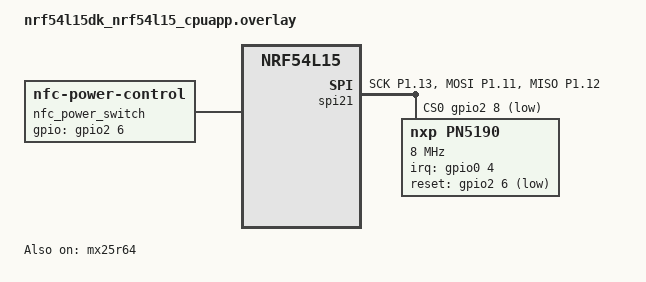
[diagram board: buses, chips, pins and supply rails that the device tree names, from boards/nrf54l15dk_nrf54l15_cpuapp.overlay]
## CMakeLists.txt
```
#
# Copyright (c) 2025 Nordic Semiconductor ASA
#
# SPDX-License-Identifier: LicenseRef-Nordic-5-Clause
#

cmake_minimum_required(VERSION 3.20.0)

find_package(Zephyr REQUIRED HINTS $ENV{ZEPHYR_BASE})
project(door-lock-app)

list(APPEND CMAKE_MODULE_PATH ${CMAKE_CURRENT_LIST_DIR}/../cmake)

if(CONFIG_NCS_ALIRO AND NOT CONFIG_ALIRO_ON_EXTERNAL_MCU)
add_subdirectory(src/aliro)
endif()
add_subdirectory_ifdef(CONFIG_CHIP src/matter)
add_subdirectory_ifdef(CONFIG_DOOR_LOCK_DFU_BLE_SMP src/dfu_smp)
add_subdirectory_ifdef(CONFIG_DOOR_LOCK_BLE_NUS src/bt_nus)
if(CONFIG_ALIRO_AT_MODULE OR CONFIG_ALIRO_AT_HOST)
add_subdirectory(src/at_command)
endif()

file(GLOB app_sources CONFIGURE_DEPENDS src/*.cpp)
target_sources(app PRIVATE ${app_sources})
target_include_directories(app PRIVATE src)
```

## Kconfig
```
#
# Copyright (c) 2025 Nordic Semiconductor ASA
#
# SPDX-License-Identifier: LicenseRef-Nordic-5-Clause
#

mainmenu "nRF Door Lock and Access Control Add-on"

module = DOOR_LOCK_APP
module-str = NCS_DOOR_LOCK_APP
module-dep = LOG
module-help = Enables nRF Connect SDK Door Lock Application log messages.
source "$(ZEPHYR_BASE)/subsys/logging/Kconfig.template.log_config"

config MATTER_ON_EXTERNAL_MCU
	bool "Matter stack on external MCU"
  help
    Enable this option if the Matter stack is running on an external MCU.

config ALIRO_ON_EXTERNAL_MCU
  bool "Aliro stack on external MCU"
  help
    Enable this option if the Aliro stack is running on an external MCU.

config DOOR_LOCK_CLI
	bool "CLI support"
	default y if (!DOOR_LOCK_RELEASE || (!CHIP && !MATTER_ON_EXTERNAL_MCU))
	select SHELL
	select REBOOT
	help
	  Enable support for Door Lock CLI.

config DOOR_LOCK_RELEASE
    bool "Release configuration"
    help
      In this configuration:
      Aliro stack logs are disabled.
      RFAL NFC driver logs are disabled.
      Shell commands are disabled.
      Device reset automatically on fatal error.

rsource "src/Kconfig"

rsource "Kconfig.defconfig"

# Source BLE defconfig when any BLE feature is enabled
if DOOR_LOCK_BLE_UWB || DOOR_LOCK_DFU_BLE_SMP || DOOR_LOCK_BLE_NUS
rsource "Kconfig.ble.defconfig"
endif # DOOR_LOCK_BLE_UWB || DOOR_LOCK_DFU_BLE_SMP || DOOR_LOCK_BLE_NUS

if CHIP

rsource "src/matter/Kconfig"
source "$(ZEPHYR_CONNECTEDHOMEIP_MODULE_DIR)/config/nrfconnect/chip-module/Kconfig.features"
source "$(ZEPHYR_CONNECTEDHOMEIP_MODULE_DIR)/config/nrfconnect/chip-module/Kconfig.defaults"
source "$(ZEPHYR_NRF_MODULE_DIR)/samples/matter/common/src/Kconfig"

endif # CHIP

source "Kconfig.zephyr"
```

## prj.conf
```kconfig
#
# Copyright (c) 2025 Nordic Semiconductor ASA
#
# SPDX-License-Identifier: LicenseRef-Nordic-5-Clause
#

#
# Aliro
#

CONFIG_NCS_ALIRO=y

# Basic system configuration
CONFIG_CPP=y
CONFIG_STD_CPP17=y
CONFIG_REQUIRES_FULL_LIBCPP=y
CONFIG_RESET_ON_FATAL_ERROR=n
CONFIG_ASSERT=y
CONFIG_MPU_STACK_GUARD=y
CONFIG_SYS_HEAP_RUNTIME_STATS=y

# Stack sizes
CONFIG_SYSTEM_WORKQUEUE_STACK_SIZE=3072
CONFIG_SHELL_STACK_SIZE=4096

# Logging
CONFIG_CONSOLE=y
CONFIG_LOG=y
CONFIG_LOG_MODE_DEFERRED=y
CONFIG_DOOR_LOCK_RFAL_LOG_LEVEL_DBG=y
CONFIG_DOOR_LOCK_NXPNFCRDLIB_LOG_LEVEL_DBG=y
CONFIG_DOOR_LOCK_BLE_LOG_LEVEL_INF=y
CONFIG_DOOR_LOCK_UWB_LOG_LEVEL_INF=y
CONFIG_USE_SEGGER_RTT=n
CONFIG_LOG_BACKEND_RTT=n
CONFIG_LOG_BACKEND_SHOW_COLOR=n
CONFIG_DOOR_LOCK_APP_LOG_LEVEL_INF=y
CONFIG_BT_HCI_CORE_LOG_LEVEL_ERR=y
CONFIG_BT_HCI_DRIVER_LOG_LEVEL_ERR=y
CONFIG_MATTER_LOG_LEVEL_INF=y
CONFIG_CHIP_APP_LOG_LEVEL=3

# Disable unused shell features
CONFIG_SHELL_VT100_COLORS=n
CONFIG_SHELL_HISTORY=n
CONFIG_SHELL_WILDCARD=n

# Set shell configuration
CONFIG_SHELL_MINIMAL=n
CONFIG_SHELL_DEVICE_HELPERS=y

# Increase shell buffer sizes
CONFIG_SHELL_BACKEND_SERIAL_RX_RING_BUFFER_SIZE=2048
CONFIG_SHELL_BACKEND_SERIAL_TX_RING_BUFFER_SIZE=1024

# Adjust logs queue size
CONFIG_SHELL_BACKEND_SERIAL_LOG_MESSAGE_QUEUE_SIZE=2048

# Workaournd for Murata issue:
# https://github.com/csa-access-control/aliro-actuator/issues/114
CONFIG_BT_GAP_AUTO_UPDATE_CONN_PARAMS=n

# Override default values to match Aliro requirements for APDU message sizes.
CONFIG_BT_BUF_ACL_RX_SIZE=271
CONFIG_BT_BUF_ACL_TX_SIZE=271
CONFIG_BT_L2CAP_TX_MTU=267

#
# Matter
#

CONFIG_CHIP_LIB_SHELL=y
CONFIG_NCS_SAMPLE_MATTER_TEST_SHELL=y

# 3003
CONFIG_CHIP_DEVICE_DISCRIMINATOR=0xBBB
CONFIG_CHIP_DEVICE_SPAKE2_PASSCODE=30033003

# 32774 == 0x8006 (example lock-app)
CONFIG_CHIP_DEVICE_PRODUCT_ID=32774

# Suspend devices when the CPU goes into sleep
CONFIG_PM_DEVICE=y
CONFIG_PM_DEVICE_RUNTIME=y

# Try to disable unused RAM blocks to reduce power consumption
CONFIG_RAM_POWER_DOWN_LIBRARY=y

CONFIG_LOCK_MAX_CREDENTIAL_LENGTH=65
```

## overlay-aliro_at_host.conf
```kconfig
CONFIG_ALIRO_AT_HOST=y
CONFIG_HEAP_MEM_POOL_SIZE=4096
CONFIG_CHIP_FACTORY_RESET_ERASE_SETTINGS=n
CONFIG_NFC_DRIVER_STM=n
CONFIG_NFC_DRIVER_NXP=n
CONFIG_NCS_ALIRO=n

# Aliro storage and expedited phase run on the external MCU.
CONFIG_DOOR_LOCK_EXPEDITED_FAST_PHASE=n
CONFIG_DOOR_LOCK_EXTERNAL_NVS=n

# Inherited from prj.conf; NFC drivers are disabled for AT Host.
CONFIG_DOOR_LOCK_RFAL_LOG_LEVEL_OFF=y
CONFIG_DOOR_LOCK_NXPNFCRDLIB_LOG_LEVEL_OFF=y
CONFIG_SHELL_ASYNC_API=y
```

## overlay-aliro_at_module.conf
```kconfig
CONFIG_ALIRO_AT_MODULE=y
CONFIG_REBOOT=y
CONFIG_PM_EXTERNAL_FLASH_MCUBOOT_SECONDARY=n
CONFIG_DOOR_LOCK_EXTERNAL_NVS=n
CONFIG_DOOR_LOCK_INTERNAL_ZMS=y
#CONFIG_DOOR_LOCK_APP_LOG_LEVEL_DBG=y
#CONFIG_DOOR_LOCK_INTERNAL_ZMS_LOG_LEVEL_DBG=y
CONFIG_NFC_DRIVER_STM=n
CONFIG_NFC_DRIVER_NXP=y
CONFIG_SHELL_ASYNC_API=y
```

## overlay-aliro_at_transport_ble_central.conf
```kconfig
# AT transport: BLE Central (NUS client), for Matter + Aliro AT Host.
# Pairs with a peripheral exposing Nordic UART Service (same as bt_nus / peripheral_uart).
CONFIG_ALIRO_AT_TRANSPORT_SERIAL=n
CONFIG_ALIRO_AT_TRANSPORT_BLE=y

CONFIG_BT=y
CONFIG_BT_CENTRAL=y
CONFIG_BT_GATT_CLIENT=y
CONFIG_BT_SMP=y
CONFIG_BT_ID_MAX=2

# NUS client + GATT discovery + scan (see samples/bluetooth/central_uart)
CONFIG_BT_NUS_CLIENT=y
CONFIG_BT_GATT_DM=y
CONFIG_BT_SCAN=y
CONFIG_BT_SCAN_FILTER_ENABLE=y
CONFIG_BT_SCAN_UUID_CNT=1
CONFIG_BT_SCAN_ADDRESS_CNT=1

# Matter commissioning BLE + AT NUS central link
CONFIG_BT_MAX_CONN=2
CONFIG_BT_MAX_PAIRED=2

# Bonding / reconnection to known NUS peer (with CONFIG_BT_SETTINGS from Matter)
CONFIG_BT_SETTINGS=y

# Extra heap for NUS client / scan / GATT DM (raise if Matter default is lower)
CONFIG_HEAP_MEM_POOL_SIZE=8192
```

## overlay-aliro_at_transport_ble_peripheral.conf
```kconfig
# AT transport: BLE Peripheral (NUS server), for Matter + Aliro AT Host.
# Pairs with a central exposing Nordic UART Service (same as bt_nus / central_uart).
CONFIG_ALIRO_AT_TRANSPORT_SERIAL=n
CONFIG_ALIRO_AT_TRANSPORT_BLE=y

# Exclude Lock NUS commands from the default NUS command pool, since the peripheral doesn't need them and it saves RAM.
CONFIG_DOOR_LOCK_BT_NUS_MAX_COMMANDS=1
# Increase max command length to allow for longer AT commands (e.g. with more parameters) - adjust as needed.
CONFIG_DOOR_LOCK_BT_NUS_MAX_COMMAND_LEN=200
# Don't need authentication or passkey entry for the peripheral role in this demo, so disable to save code/RAM.
CONFIG_BT_NUS_AUTHEN=n
CONFIG_BT_APP_PASSKEY=n
```

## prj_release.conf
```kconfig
#
# Copyright (c) 2025 Nordic Semiconductor ASA
#
# SPDX-License-Identifier: LicenseRef-Nordic-5-Clause
#

#
# Aliro
#

CONFIG_NCS_ALIRO=y

CONFIG_NCS_ALIRO_RELEASE=y

CONFIG_DOOR_LOCK_RELEASE=y

# Basic system configuration
CONFIG_CPP=y
CONFIG_STD_CPP17=y
CONFIG_REQUIRES_FULL_LIBCPP=y

# Stack sizes
CONFIG_SYSTEM_WORKQUEUE_STACK_SIZE=3072

#logging
CONFIG_LOG=n
CONFIG_USE_SEGGER_RTT=n

# Workaround for Murata issue:
# https://github.com/csa-access-control/aliro-actuator/issues/114
CONFIG_BT_GAP_AUTO_UPDATE_CONN_PARAMS=n

# Override default values to match Aliro requirements for APDU message sizes.
CONFIG_BT_BUF_ACL_RX_SIZE=271
CONFIG_BT_BUF_ACL_TX_SIZE=271
CONFIG_BT_L2CAP_TX_MTU=267

#
# Matter
#

# 3003
CONFIG_CHIP_DEVICE_DISCRIMINATOR=0xBBB
CONFIG_CHIP_DEVICE_SPAKE2_PASSCODE=30033003

# 32774 == 0x8006 (example lock-app)
CONFIG_CHIP_DEVICE_PRODUCT_ID=32774

# Suspend devices when the CPU goes into sleep
CONFIG_PM_DEVICE=y
CONFIG_PM_DEVICE_RUNTIME=y

# Try to disable unused RAM blocks to reduce power consumption
CONFIG_RAM_POWER_DOWN_LIBRARY=y

CONFIG_LOCK_MAX_CREDENTIAL_LENGTH=65

CONFIG_ASSERT=n
CONFIG_ASSERT_VERBOSE=n
CONFIG_ASSERT_NO_FILE_INFO=y

CONFIG_RESET_ON_FATAL_ERROR=y

CONFIG_UART_CONSOLE=n
CONFIG_SERIAL=n
CONFIG_SHELL=n
CONFIG_NCS_SAMPLE_MATTER_TEST_SHELL=n
CONFIG_LOG_MODE_MINIMAL=n

CONFIG_THREAD_NAME=n
CONFIG_BOOT_BANNER=n
CONFIG_PRINTK=n
CONFIG_PRINTK_SYNC=n
CONFIG_CHIP_LIB_SHELL=n
CONFIG_OPENTHREAD_SHELL=n
```

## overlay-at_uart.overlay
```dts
/*
 * Copyright (c) 2025 Nordic Semiconductor ASA
 *
 * SPDX-License-Identifier: LicenseRef-Nordic-5-Clause
 */

 / {
	chosen {
		aliro,at-uart = &uart30;
	};

	aliro_at_uart_rx: aliro-at-uart-rx {
		compatible = "gpio-keys";
		aliro_at_uart_rx_pin: aliro_at_uart_rx_pin {
			gpios = <&gpio0 1 ( GPIO_PULL_UP | GPIO_ACTIVE_LOW )>;
		};
	};
};

&pinctrl {
	uart30_default: uart30_default {
		group1 {
			psels = <NRF_PSEL(UART_TX, 0, 0)>,
				<NRF_PSEL(UART_RX, 0, 1)>;
		};
	};

	uart30_sleep: uart30_sleep {
		group1 {
			psels = <NRF_PSEL(UART_TX, 0, 0)>,
				<NRF_PSEL(UART_RX, 0, 1)>;
			low-power-enable;
		};
	};
};

&uart30 {
	compatible = "nordic,nrf-uarte";
	status = "okay";
	current-speed = <115200>;
	pinctrl-0 = <&uart30_default>;
	pinctrl-1 = <&uart30_sleep>;
	pinctrl-names = "default", "sleep";
	/delete-property/ hw-flow-control;
};

&gpio0 {
	status = "okay";
	sense-edge-mask = <0x00000012>; /* P0.01, P0.04 */
};
```

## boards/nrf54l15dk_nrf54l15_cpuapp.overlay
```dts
/*
 * Copyright (c) 2025 Nordic Semiconductor ASA
 *
 * SPDX-License-Identifier: LicenseRef-Nordic-5-Clause
 */

/ {
	/* Disable buttons to avoid collision with interrupt and SCK pins for NFC tag reader.
	It also allows to use the button with the same label (1) on all supported dev kits. */
	buttons {
		/delete-node/ button_0;
		/delete-node/ button_3;
	};

	leds {
		/delete-node/ led_0;
	};

	aliases {
		/delete-property/ sw0;
		/delete-property/ sw3;
		/delete-property/ led0;
		/delete-property/ mcuboot-led0;
		mcuboot-button0 = &button1;
		lock-sim-indicator = &led2; /* green LED2 on nRF54L15DK */
	};

	nfc_power_switch: nfc_power_switch {
		status = "okay";
		compatible = "nfc-power-control";
		gpios = <&gpio2 6 ( GPIO_ACTIVE_HIGH | GPIO_PULL_DOWN )>;
	};

	chosen {
		nordic,pm-ext-flash = &mx25r64;
	};
};

&pinctrl {
	spi21_default: spi21_default {
		group1 {
			psels = <NRF_PSEL(SPIM_SCK, 1, 13)>,
			        <NRF_PSEL(SPIM_MOSI, 1, 11)>,
			        <NRF_PSEL(SPIM_MISO, 1, 12)>;
			nordic,drive-mode = <NRF_DRIVE_H0H1>;
		};
	};

	spi21_sleep: spi21_sleep {
		group1 {
			psels = <NRF_PSEL(SPIM_SCK, 1, 13)>,
			        <NRF_PSEL(SPIM_MOSI, 1, 11)>,
			        <NRF_PSEL(SPIM_MISO, 1, 12)>;
			low-power-enable;
		};
	};
};

&spi21 {
	compatible = "nordic,nrf-spim";
	status = "okay";
	cs-gpios = <&gpio2 8 GPIO_ACTIVE_LOW>;

	pinctrl-0 = <&spi21_default>;
	pinctrl-1 = <&spi21_sleep>;
	pinctrl-names = "default", "sleep";
	pn5190@0 {
		compatible = "nxp,pn5190";
		reg = <0>;
		spi-max-frequency = <8000000>;
		irq-gpios = <&gpio0 4 GPIO_ACTIVE_HIGH>;
		reset-gpios = <&gpio2 6 (GPIO_ACTIVE_LOW|GPIO_PULL_UP)>;
	};
};

&gpio0 {
	status = "okay";
};

&gpio1 {
	status = "okay";
};

&gpio2 {
	status = "okay";
};

/* restore full RRAM and SRAM space - by default some parts are dedicated to FLRP */
&cpuapp_rram {
	reg = <0x0 DT_SIZE_K(1524)>;
};

&mx25r64 {
	status = "okay";
};

&gpio0 {
	status = "okay";
	/* Use PORT event rather than GPIOTE IN event, to save power */
	sense-edge-mask = <0x00000010>; /* P0.04 */
};
```

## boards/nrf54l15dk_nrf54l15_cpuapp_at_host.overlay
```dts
/*
 * Copyright (c) 2025 Nordic Semiconductor ASA
 *
 * SPDX-License-Identifier: LicenseRef-Nordic-5-Clause
 */

/ {
	/* Disable buttons to avoid collision with interrupt and SCK pins for NFC tag reader.
	It also allows to use the button with the same label (1) on all supported dev kits. */
	buttons {
		/delete-node/ button_0;
		/delete-node/ button_3;
	};

	leds {
		/delete-node/ led_0;
	};

	aliases {
		/delete-property/ sw0;
		/delete-property/ sw3;
		/delete-property/ led0;
		/delete-property/ mcuboot-led0;
		mcuboot-button0 = &button1;
		lock-sim-indicator = &led2; /* green LED2 on nRF54L15DK */
	};

	chosen {
		nordic,pm-ext-flash = &mx25r64;
	};
};

&spi21 {
	status = "disabled";
};

&gpio0 {
	status = "okay";
};

&gpio1 {
	status = "okay";
};

&gpio2 {
	status = "okay";
};

/* restore full RRAM and SRAM space - by default some parts are dedicated to FLRP */
&cpuapp_rram {
	reg = <0x0 DT_SIZE_K(1524)>;
};

&mx25r64 {
	status = "okay";
};

&gpio0 {
	status = "okay";
};
```

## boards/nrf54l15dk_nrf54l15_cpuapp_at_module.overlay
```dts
/*
 * Copyright (c) 2025 Nordic Semiconductor ASA
 *
 * SPDX-License-Identifier: LicenseRef-Nordic-5-Clause
 */

/ {
	/* Disable buttons to avoid collision with interrupt and SCK pins for NFC tag reader.
	It also allows to use the button with the same label (1) on all supported dev kits. */
	buttons {
		/delete-node/ button_0;
		/delete-node/ button_3;
	};

	leds {
		/delete-node/ led_0;
	};

	aliases {
		/delete-property/ sw0;
		/delete-property/ sw3;
		/delete-property/ led0;
		/delete-property/ mcuboot-led0;
		mcuboot-button0 = &button1;
		lock-sim-indicator = &led2; /* green LED2 on nRF54L15DK */
	};
};

&pinctrl {
	spi21_default: spi21_default {
		group1 {
			psels = <NRF_PSEL(SPIM_SCK, 1, 13)>,
			        <NRF_PSEL(SPIM_MOSI, 1, 11)>,
			        <NRF_PSEL(SPIM_MISO, 1, 12)>;
			nordic,drive-mode = <NRF_DRIVE_H0H1>;
		};
	};

	spi21_sleep: spi21_sleep {
		group1 {
			psels = <NRF_PSEL(SPIM_SCK, 1, 13)>,
			        <NRF_PSEL(SPIM_MOSI, 1, 11)>,
			        <NRF_PSEL(SPIM_MISO, 1, 12)>;
			low-power-enable;
		};
	};
};

&spi21 {
	compatible = "nordic,nrf-spim";
	status = "okay";
	cs-gpios = <&gpio2 8 GPIO_ACTIVE_LOW>;

	pinctrl-0 = <&spi21_default>;
	pinctrl-1 = <&spi21_sleep>;
	pinctrl-names = "default", "sleep";
	pn5190@0 {
		compatible = "nxp,pn5190";
		reg = <0>;
		spi-max-frequency = <DT_FREQ_M(8)>;
		irq-gpios = <&gpio0 4 GPIO_ACTIVE_HIGH>;
		reset-gpios = <&gpio2 6 (GPIO_ACTIVE_LOW|GPIO_PULL_UP)>;
	};
};

&gpio0 {
	status = "okay";
};

&gpio1 {
	status = "okay";
};

&gpio2 {
	status = "okay";
};

/* restore full RRAM and SRAM space - by default some parts are dedicated to FLRP */
&cpuapp_rram {
	reg = <0x0 DT_SIZE_K(1524)>;
};

&cpuapp_sram {
	reg = <0x20000000 DT_SIZE_K(256)>;
	ranges = <0x0 0x20000000 0x40000>;
};

&gpio0 {
	status = "okay";
	/* Use PORT event rather than GPIOTE IN event, to save power */
	sense-edge-mask = <0x00000010>; /* P0.04 */
};
```

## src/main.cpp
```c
/*
 * Copyright (c) 2025 Nordic Semiconductor ASA
 *
 * SPDX-License-Identifier: LicenseRef-Nordic-5-Clause
 */

#if defined(CONFIG_CHIP) && !defined(CONFIG_ALIRO_AT_MODULE)
#include "matter/init.h"
#else // CONFIG_CHIP && !CONFIG_ALIRO_AT_MODULE
#include "aliro/init.h"
#include "aliro/lock_sim/lock_sim_instance.h"
#endif // CONFIG_CHIP

#include "aliro/utils.h"

#if !defined(CONFIG_ALIRO_AT_HOST)
#include <crypto/utils.h>
#endif
#include <zephyr/logging/log.h>

#include <cstdlib>

#ifdef CONFIG_DOOR_LOCK_DFU_BLE_SMP
#include "dfu_smp_manager.h"
#endif // CONFIG_DOOR_LOCK_DFU_BLE_SMP

#ifdef CONFIG_DOOR_LOCK_BLE_NUS

#include "bt_nus/bt_nus.h"
#endif // CONFIG_DOOR_LOCK_BLE_NUS

#ifdef CONFIG_DOOR_LOCK_BLE_UWB
#include "access_manager.h"
#include "uwb_impl.h"
#endif // CONFIG_DOOR_LOCK_BLE_UWB

#ifdef CONFIG_ALIRO_AT_MODULE
#include "at_command/at_module.h"
#endif // CONFIG_ALIRO_AT_MODULE

#ifdef CONFIG_CHIP
LOG_MODULE_REGISTER(app, CONFIG_CHIP_APP_LOG_LEVEL);
#else // CONFIG_CHIP
LOG_MODULE_REGISTER(door_lock_app, CONFIG_DOOR_LOCK_APP_LOG_LEVEL);
#endif // CONFIG_CHIP

#if defined(CONFIG_ALIRO_AT_MODULE)
static void s_module_event_cb(enum at_module_event event)
{
	if (event == AT_MODULE_TRANSPORT_CONNECTED) {
		LOG_INF("AT command transport connected");
	} else {
		LOG_INF("AT command transport disconnected");
	}
}
#endif // CONFIG_ALIRO_AT_MODULE

int main()
{
#if !defined(CONFIG_ALIRO_AT_HOST)
	auto error = DoorLock::Crypto::Init();
	VerifyOrDie(error == ALIRO_NO_ERROR, "Failed to initialize Aliro crypto");
#endif

#ifdef CONFIG_DOOR_LOCK_BLE_UWB

	constexpr Aliro::Uwb::UltraWideBandImpl::Callbacks uwbCallbacks{
		.mRangingData =
			[](Aliro::Uwb::UltraWideBandImpl::SessionContextHandle sessionContext,
			   const Aliro::UwbRangingData &uwbData) {
				Aliro::AccessManagerInstance().HandleRangingSessionData(sessionContext, uwbData);
			},
		.mRangingSessionStateChanged =
			[](Aliro::Uwb::UltraWideBandImpl::SessionContextHandle sessionContext,
			   Aliro::RangingSessionState state) {
				Aliro::AccessManagerInstance().HandleRangingSessionStateChanged(sessionContext, state);
			}
	};

	error = Aliro::Uwb::UltraWideBandImpl::Instance().Init(uwbCallbacks);
	if (error == ALIRO_ERROR_NOT_IMPLEMENTED) {
		LOG_INF("UWB is not implemented");
	} else if (error != ALIRO_NO_ERROR) {
		LOG_ERR("Failed to initialize UWB module: %d", error.ToInt());
	}

#endif // CONFIG_DOOR_LOCK_BLE_UWB

#if defined(CONFIG_CHIP) && !defined(CONFIG_ALIRO_AT_MODULE)

	int err = StartMatter();
	VerifyOrDie(err == EXIT_SUCCESS, "Failed to start Matter");

#else // CONFIG_CHIP && !CONFIG_ALIRO_AT_MODULE

	int err = AliroInit();
	VerifyOrDie(err == EXIT_SUCCESS, "Failed to initialize Aliro");

#ifdef CONFIG_ALIRO_AT_MODULE
	err = at_module_init(s_module_event_cb);
	VerifyOrDie(err == 0, "Failed to init AT Module");
#endif // CONFIG_ALIRO_AT_MODULE

#ifdef CONFIG_DOOR_LOCK_DFU_BLE_SMP

	Aliro::Dfu::SmpManager::Instance().Init();
	Aliro::Dfu::SmpManager::Instance().ConfirmNewImage();

#endif // CONFIG_DOOR_LOCK_DFU_BLE_SMP

#ifdef CONFIG_DOOR_LOCK_BLE_NUS
#ifdef CONFIG_ALIRO_AT_MODULE
	Aliro::BtNus::NUSService::Instance().RegisterCommand(
		"AT", strlen("AT"),
		[](void *context) {
			LOG_INF("AT command received over NUS");
		},
		nullptr);
#else
	Aliro::BtNus::NUSService::Instance().RegisterCommand(
		"Unlock", strlen("Unlock"),
		[](void *context) {
			LOG_INF("Unlock command received");
			Aliro::LockSimInstance().Unlock(Aliro::OperationSource::Unspecified);
		},
		nullptr);

	Aliro::BtNus::NUSService::Instance().RegisterCommand(
		"Lock", strlen("Lock"),
		[](void *context) {
			LOG_INF("Lock command received");
			Aliro::LockSimInstance().Lock(Aliro::OperationSource::Unspecified);
		},
		nullptr);
#endif // CONFIG_ALIRO_AT_MODULE
	AliroError nusErr = Aliro::BtNus::NUSService::Instance().Start();
	VerifyOrDie(nusErr == ALIRO_NO_ERROR, "Failed to start NUS service");
#endif // CONFIG_DOOR_LOCK_BLE_NUS

	LOG_INF("Application started");

#endif // CONFIG_CHIP

	return EXIT_SUCCESS;
}
```
